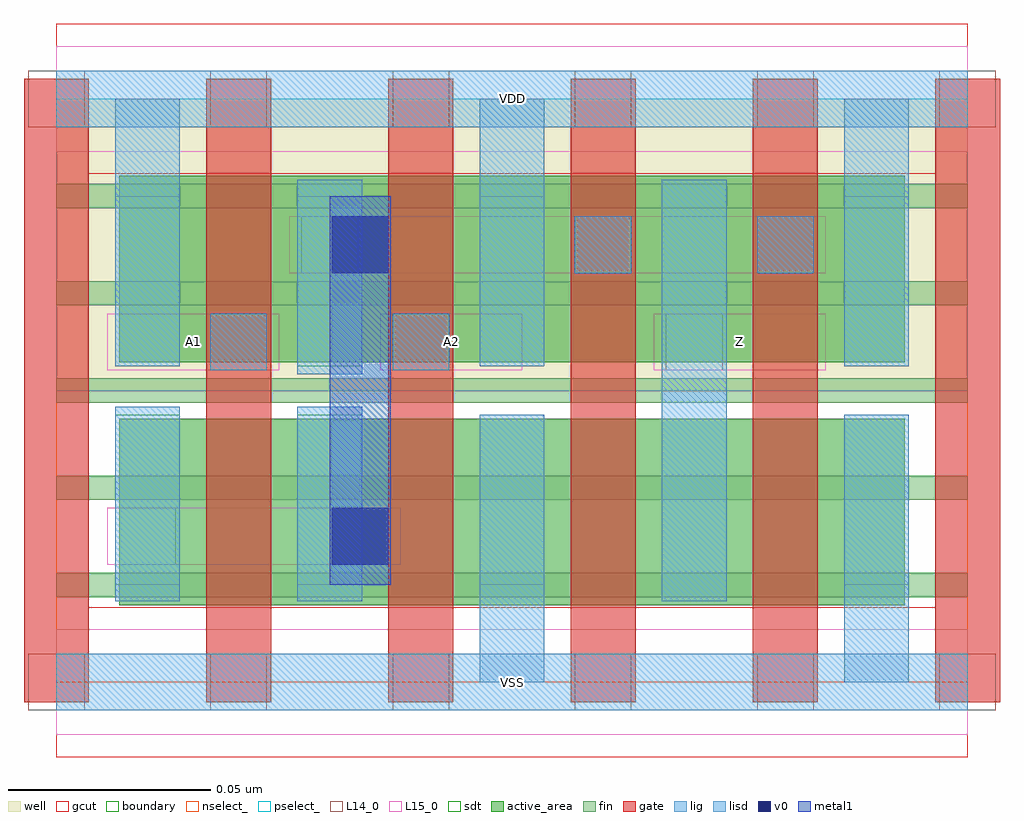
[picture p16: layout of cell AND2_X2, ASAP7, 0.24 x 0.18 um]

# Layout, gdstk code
import gdstk
lib = gdstk.Library(unit=1e-6, precision=2.5e-10)
def R(c, l, rs):  # rectangles x0, y0, x1, y1
    for r in rs: c.add(gdstk.rectangle(r[:2], r[2:], *l))
def A(c, l, x, y, w, h, nx, ny, dx, dy):  # array of equal rectangles
    R(c, l, [(x+i*dx, y+j*dy, x+i*dx+w, y+j*dy+h) for i in range(nx) for j in range(ny)])
well = (1, 0)
fin = (2, 0)
gate = (7, 0)
gcut = (10, 0)
active_area = (11, 0)
nselect_ = (12, 0)
pselect_ = (13, 0)
L14_0 = (14, 0)
L15_0 = (15, 0)
lig = (16, 0)
lisd = (17, 0)
v0 = (18, 0)
metal1 = (19, 0)
sdt = (88, 0)
boundary = (100, 0)

and2_x2 = lib.new_cell('AND2_X2')
R(and2_x2, well, [(0,0.072,0.225,0.144)])
A(and2_x2, fin, 0, 0.021, 0.225, 0.006, 1, 5, 0, 0.024)
A(and2_x2, gate, -0.008, -0.005, 0.016, 0.154, 6, 1, 0.045, 0)
R(and2_x2, gcut, [(0,-0.0185,0.225,0.0185), (-0.008,-0.005,0.008,0.149), (0.217,-0.005,0.233,0.149), (0,0.1255,0.225,0.1625)])
A(and2_x2, active_area, 0.0155, 0.019, 0.059, 0.046, 4, 2, 0.045, 0.06)
R(and2_x2, nselect_, [(0,0,0.225,0.072)])
R(and2_x2, pselect_, [(0,0.072,0.225,0.144)])
A(and2_x2, L14_0, -0.007, -0.007, 0.014, 0.014, 6, 2, 0.045, 0.144)
R(and2_x2, L14_0, [(0.0155,0.029,0.0295,0.043), (0.038,0.077,0.052,0.091), (0.083,0.077,0.097,0.091), (0.1505,0.077,0.1645,0.091), (0.0605,0.101,0.0745,0.115), (0.128,0.101,0.142,0.115), (0.173,0.101,0.187,0.115)])
R(and2_x2, L15_0, [(0,-0.013,0.225,0.013), (0.0125,0.029,0.085,0.043), (0.0125,0.077,0.055,0.091), (0.08,0.077,0.115,0.091), (0.1475,0.077,0.19,0.091), (0.0575,0.101,0.19,0.115), (0,0.131,0.225,0.157)])
R(and2_x2, lig, [(0,-0.007,0.225,0.007), (0.038,0.077,0.052,0.091), (0.083,0.077,0.097,0.091), (0.128,0.101,0.142,0.115), (0.173,0.101,0.187,0.115), (0,0.137,0.225,0.151)])
R(and2_x2, lisd, [(0.1045,0,0.1205,0.066), (0.1045,0,0.1205,0.066), (0.1945,0,0.2105,0.066), (0.0145,0.02,0.0305,0.068), (0.0595,0.02,0.0755,0.068), (0.0595,0.02,0.0755,0.068), (0.1495,0.02,0.1655,0.124), (0.1495,0.02,0.1655,0.124), (0.0595,0.076,0.0755,0.124), (0.0595,0.076,0.0755,0.124), (0.0145,0.078,0.0305,0.144), (0.1045,0.078,0.1205,0.144), (0.1045,0.078,0.1205,0.144), (0.1945,0.078,0.2105,0.144)])
R(and2_x2, v0, [(0.068,0.029,0.082,0.043), (0.068,0.101,0.082,0.115)])
R(and2_x2, metal1, [(0.0675,0.024,0.0825,0.12)])
R(and2_x2, sdt, [(0.1495,0.02,0.1655,0.124), (0.1495,0.02,0.1655,0.124), (0.0145,0.024,0.0305,0.066), (0.0595,0.024,0.0755,0.066), (0.0595,0.024,0.0755,0.066), (0.1045,0.024,0.1205,0.066), (0.1045,0.024,0.1205,0.066), (0.1945,0.024,0.2105,0.066), (0.0145,0.078,0.0305,0.12), (0.0595,0.078,0.0755,0.12), (0.0595,0.078,0.0755,0.12), (0.1045,0.078,0.1205,0.12), (0.1045,0.078,0.1205,0.12), (0.1945,0.078,0.2105,0.12)])
R(and2_x2, boundary, [(0,0,0.225,0.144)])
and2_x2.add(gdstk.Label('VDD', (0.1125,0.144), layer=1, texttype=251))
and2_x2.add(gdstk.Label('VSS', (0.1125,0), layer=3, texttype=251))
and2_x2.add(gdstk.Label('A1', (0.0338,0.084), layer=15, texttype=251))
and2_x2.add(gdstk.Label('A2', (0.0975,0.084), layer=15, texttype=251))
and2_x2.add(gdstk.Label('Z', (0.1688,0.084), layer=15, texttype=251))
and2_x2.add(gdstk.Label('VSS', (0.1125,0), layer=15, texttype=251))
and2_x2.add(gdstk.Label('VDD', (0.1125,0.144), layer=15, texttype=251))

lib.write_gds('AND2_X2.gds')
